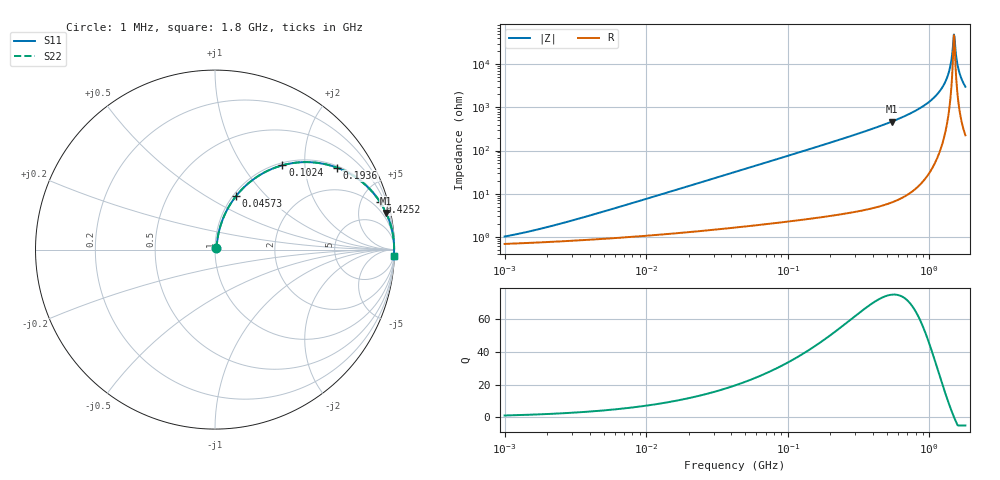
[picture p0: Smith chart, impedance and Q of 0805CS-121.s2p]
# MHz S MA R 50
!Freq  MagS11  AngS11  MagS21  AngS21  MagS12  AngS12  MagS22  AngS22
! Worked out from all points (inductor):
!   801 points, 1 MHz to 1.8 GHz, reference 50 ohm
!   read as one part in series: L = 119 nH near 3.318 MHz
!   highest Q = 74.9 at 542.5 MHz (marker M1), where L = 137 nH
!   self-resonance near 1.492 GHz
!   S11 on the Smith chart (normalised r, x): 1 MHz: 1.01, +0.01; 45.73 MHz: 1.03, +0.68; 102.4 MHz: 1.05, +1.54; 193.6 MHz: 1.06, +2.94; 425.2 MHz: 1.10, +6.92; 1.8 GHz: 6, -60
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1  0.01005 47.2  0.9932 -0.4  0.9932 -0.4  0.01005 47.2
3.509604  0.02729 70.9  0.9914 -1.5  0.9914 -1.5  0.02729 70.9
12.20245  0.09054 77.9  0.985 -5.2  0.985 -5.2  0.09054 77.9
42.42641  0.2986 69.7  0.9392 -17.3  0.9392 -17.3  0.2986 69.7
45.72871  0.3194 68.6  0.9321 -18.6  0.9321 -18.6  0.3194 68.6
102.3601  0.6012 51.4  0.7816 -36.9  0.7816 -36.9  0.6012 51.4
148.8999  0.7387 41.0  0.6568 -47.6  0.6568 -47.6  0.7387 41.0
193.5659  0.8195 33.8  0.5567 -55.0  0.5567 -55.0  0.8195 33.8
425.2385  0.9571 16.1  0.2767 -73.1  0.2767 -73.1  0.9571 16.1
517.7063  0.9723 12.8  0.2211 -76.5  0.2211 -76.5  0.9723 12.8
542.5364  0.9752 12.1  0.2088 -77.2  0.2088 -77.2  0.9752 12.1
858.6464  0.9929 6.0  0.1038 -83.1  0.1038 -83.1  0.9929 6.0
1148.038  0.9972 2.7  0.04787 -85.3  0.04787 -85.3  0.9972 2.7
1249.045  0.9978 1.9  0.0325 -85.1  0.0325 -85.1  0.9978 1.9
1333.711  0.998 1.2  0.02072 -83.9  0.02072 -83.9  0.998 1.2
1397.678  0.9981 0.7  0.01239 -80.8  0.01239 -80.8  0.9981 0.7
1464.713  0.9981 0.2  0.00434 -63.5  0.00434 -63.5  0.9981 0.2
1492.419  0.998 0.0  0.002034 -15.7  0.002034 -15.7  0.998 0.0
1534.963  0.998 -0.3  0.004895 65.4  0.004895 65.4  0.998 -0.3
1593.582  0.9978 -0.6  0.01134 78.7  0.01134 78.7  0.9978 -0.6
1654.439  0.9976 -1.0  0.01798 81.9  0.01798 81.9  0.9976 -1.0
1800  0.997 -1.9  0.03309 83.8  0.03309 83.8  0.997 -1.9
